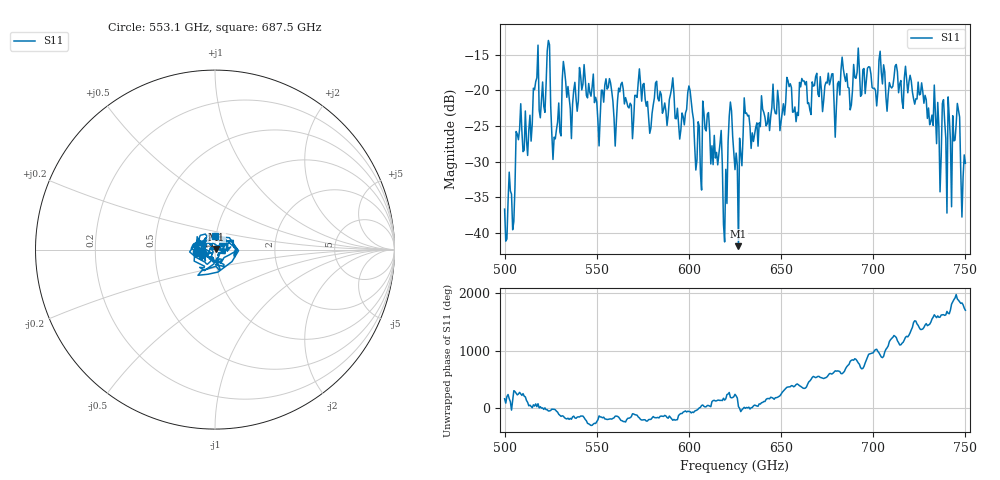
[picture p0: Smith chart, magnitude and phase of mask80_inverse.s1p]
!Created with skrf (http://scikit-rf.org).
# GHz S MA R 50.0
!freq magS11 angS11
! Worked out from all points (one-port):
!   401 points, 500 GHz to 750 GHz, reference 50 ohm
!   lowest |S11| = -41.9 dB at 626.9 GHz (marker M1), VSWR 1.02, Z = 50.7 + j0.315 ohm
!   |S11| at or under -10 dB: start of sweep to end of sweep
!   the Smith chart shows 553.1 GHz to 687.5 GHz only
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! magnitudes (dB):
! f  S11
! 500 GHz  -36.7
! 504.4 GHz  -39.6
! 507.5 GHz  -26.9
! 513.8 GHz  -23.5
! 516.9 GHz  -18.8
! 520.6 GHz  -18.8
! 523.8 GHz  -13.0
! 526.9 GHz  -26.6
! 531.2 GHz  -18.5
! 562.5 GHz  -20.2
! 579.4 GHz  -25.3
! 590.6 GHz  -19.6
! 593.8 GHz  -22.5
! 600.6 GHz  -20.0
! 605.6 GHz  -25.0
! 608.8 GHz  -25.4
! 616.9 GHz  -27.4
! 619.4 GHz  -41.3
! 622.5 GHz  -21.6
! 625 GHz  -31.1
! 626.9 GHz  -41.9
! 631.2 GHz  -23.2
! 656.2 GHz  -23.1
! 687.5 GHz  -22.7
! 718.8 GHz  -20.3
! 741.2 GHz  -23.7
! 745.6 GHz  -21.8
! 750 GHz  -30.2
